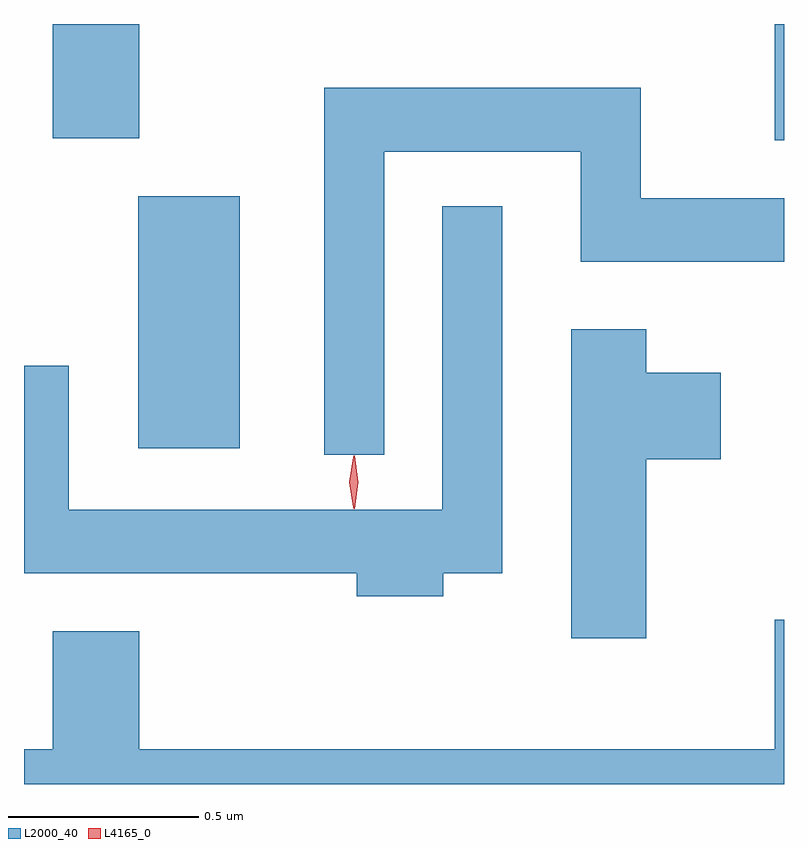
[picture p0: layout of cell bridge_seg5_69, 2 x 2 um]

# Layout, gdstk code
import gdstk
lib = gdstk.Library(unit=1e-6, precision=1e-09)
def R(c, l, rs):  # rectangles x0, y0, x1, y1
    for r in rs: c.add(gdstk.rectangle(r[:2], r[2:], *l))
def P(c, l, *ps):  # polygons
    for p in ps: c.add(gdstk.Polygon(p, *l))
L2000_40 = (2000, 40)
L4165_0 = (4165, 0)

bridge_seg5_69 = lib.new_cell('bridge_seg5_69')
R(bridge_seg5_69, L2000_40, [(1317.126,1473.396,1317.394,1474.059), (1318.801,1474.206,1318.826,1474.512), (1316.901,1474.211,1317.129,1474.512)])
P(bridge_seg5_69, L2000_40, [(1317.774,1474.176),(1318.291,1474.176),(1318.291,1473.886),(1318.826,1473.886),(1318.826,1474.054),(1318.449,1474.054),(1318.449,1474.344),(1317.616,1474.344),(1317.616,1473.378),(1317.774,1473.378)],
  [(1317.929,1473.066),(1318.084,1473.066),(1318.084,1474.033),(1317.926,1474.033),(1317.926,1473.234),(1316.944,1473.234),(1316.944,1473.613),(1316.826,1473.613),(1316.826,1473.066),(1317.701,1473.066),(1317.701,1473.006),(1317.929,1473.006)],
  [(1318.464,1473.366),(1318.659,1473.366),(1318.659,1473.594),(1318.464,1473.594),(1318.464,1473.709),(1318.266,1473.709),(1318.266,1472.896),(1318.464,1472.896)],
  [(1318.826,1472.944),(1318.801,1472.944),(1318.801,1472.604),(1317.129,1472.604),(1317.129,1472.914),(1316.901,1472.914),(1316.901,1472.604),(1316.826,1472.604),(1316.826,1472.512),(1318.826,1472.512)])
P(bridge_seg5_69, L4165_0, [(1317.694,1473.237),(1317.685,1473.306),(1317.694,1473.376),(1317.695,1473.376),(1317.696,1473.376),(1317.705,1473.306),(1317.696,1473.237),(1317.695,1473.237)],
  [(1317.692,1473.239),(1317.692,1473.24),(1317.682,1473.306),(1317.692,1473.372),(1317.692,1473.373),(1317.693,1473.372),(1317.702,1473.306),(1317.693,1473.24)])

lib.write_gds('bridge_seg5_69.gds')
